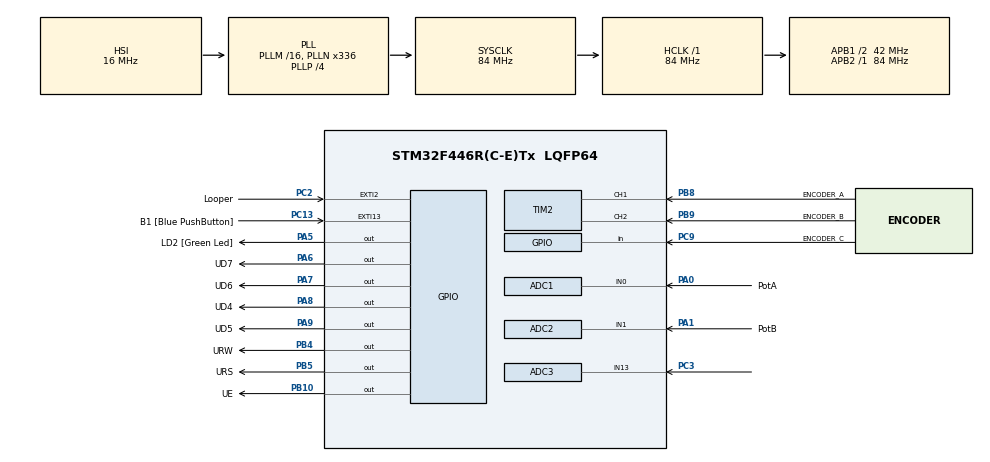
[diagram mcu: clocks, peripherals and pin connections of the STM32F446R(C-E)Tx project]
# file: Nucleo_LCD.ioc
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ADC1.Channel-1\#ChannelRegularConversion=ADC_CHANNEL_0
ADC1.ContinuousConvMode=ENABLE
ADC1.EOCSelection=ADC_EOC_SEQ_CONV
ADC1.NbrOfConversion=1
ADC1.NbrOfConversionFlag=1
ADC1.Rank-1\#ChannelRegularConversion=1
ADC1.SamplingTime-1\#ChannelRegularConversion=ADC_SAMPLETIME_84CYCLES
ADC1.master=1
ADC2.Channel-1\#ChannelRegularConversion=ADC_CHANNEL_1
ADC2.DMAContinuousRequests=DISABLE
ADC2.EOCSelection=ADC_EOC_SEQ_CONV
ADC2.NbrOfConversion=1
ADC2.NbrOfConversionFlag=1
ADC2.Rank-1\#ChannelRegularConversion=1
ADC2.SamplingTime-1\#ChannelRegularConversion=ADC_SAMPLETIME_84CYCLES
ADC3.Channel-3\#ChannelRegularConversion=ADC_CHANNEL_13
ADC3.EOCSelection=ADC_EOC_SEQ_CONV
ADC3.NbrOfConversionFlag=1
ADC3.Rank-3\#ChannelRegularConversion=1
ADC3.SamplingTime-3\#ChannelRegularConversion=ADC_SAMPLETIME_84CYCLES
Mcu.Family=STM32F4
Mcu.Name=STM32F446R(C-E)Tx
Mcu.Package=LQFP64
NVIC.EXTI2_IRQn=true\:0\:0\:false\:false\:true\:true\:true
NVIC.PriorityGroup=NVIC_PRIORITYGROUP_0
NVIC.TIM2_IRQn=true\:0\:0\:false\:false\:true\:true\:true
NVIC.TIM3_IRQn=true\:0\:0\:false\:false\:true\:true\:true
PA0-WKUP.GPIO_Label=PotA
PA0-WKUP.Signal=ADCx_IN0
PA1.GPIO_Label=PotB
PA1.Signal=ADCx_IN1
PA13.GPIO_Label=TMS
PA13.Mode=Serial_Wire
PA13.Signal=SYS_JTMS-SWDIO
PA14.GPIO_Label=TCK
PA14.Mode=Serial_Wire
PA14.Signal=SYS_JTCK-SWCLK
PA5.GPIO_Label=LD2 [Green Led]
PA5.Signal=GPIO_Output
PA6.GPIO_Label=UD7
PA6.GPIO_Speed=GPIO_SPEED_FREQ_MEDIUM
PA6.Signal=GPIO_Output
PA7.GPIO_Label=UD6
PA7.GPIO_Speed=GPIO_SPEED_FREQ_MEDIUM
PA7.Signal=GPIO_Output
PA8.GPIO_Label=UD4
PA8.GPIO_Speed=GPIO_SPEED_FREQ_MEDIUM
PA8.Signal=GPIO_Output
PA9.GPIO_Label=UD5
PA9.GPIO_Speed=GPIO_SPEED_FREQ_MEDIUM
PA9.Signal=GPIO_Output
PB10.GPIO_Label=UE
PB10.GPIO_Speed=GPIO_SPEED_FREQ_MEDIUM
PB10.Signal=GPIO_Output
PB3.GPIO_Label=SWO
PB3.Signal=SYS_JTDO-SWO
PB4.GPIO_Label=URW
PB4.GPIO_Speed=GPIO_SPEED_FREQ_MEDIUM
PB4.Signal=GPIO_Output
PB5.GPIO_Label=URS
PB5.GPIO_Speed=GPIO_SPEED_FREQ_MEDIUM
PB5.Signal=GPIO_Output
PB8.GPIO_Label=ENCODER_A
PB8.Signal=S_TIM2_CH1_ETR
PB9.GPIO_Label=ENCODER_B
PB9.Signal=S_TIM2_CH2
PC13.GPIO_Label=B1 [Blue PushButton]
PC13.GPIO_ModeDefaultEXTI=GPIO_MODE_IT_FALLING
PC13.Signal=GPXTI13
PC14-OSC32_IN.Mode=LSE-External-Oscillator
PC14-OSC32_IN.Signal=RCC_OSC32_IN
PC15-OSC32_OUT.Mode=LSE-External-Oscillator
PC15-OSC32_OUT.Signal=RCC_OSC32_OUT
PC2.GPIO_Label=Looper
PC2.Signal=GPXTI2
PC3.Signal=ADCx_IN13
PC9.GPIO_Label=ENCODER_C
PC9.Signal=GPIO_Input
PH0-OSC_IN.Mode=HSE-External-Oscillator
PH0-OSC_IN.Signal=RCC_OSC_IN
PH1-OSC_OUT.Mode=HSE-External-Oscillator
PH1-OSC_OUT.Signal=RCC_OSC_OUT
ProjectManager.HeapSize=0x200
ProjectManager.StackSize=0x400
ProjectManager.TargetToolchain=STM32CubeIDE
RCC.48MHZClocksFreq_Value=84000000
RCC.AHBFreq_Value=84000000
RCC.APB1CLKDivider=RCC_HCLK_DIV2
RCC.APB1Freq_Value=42000000
RCC.APB1TimFreq_Value=84000000
RCC.APB2Freq_Value=84000000
RCC.APB2TimFreq_Value=84000000
RCC.CortexFreq_Value=84000000
RCC.FLatency-AdvancedSettings=FLASH_LATENCY_2
RCC.HCLKFreq_Value=84000000
RCC.HSE_VALUE=8000000
RCC.HSI_VALUE=16000000
RCC.PLLN=336
RCC.PLLP=RCC_PLLP_DIV4
RCC.SYSCLKFreq_VALUE=84000000
RCC.SYSCLKSource=RCC_SYSCLKSOURCE_PLLCLK
RCC.USBFreq_Value=168000000
RCC.VCOOutputFreq_Value=336000000
SH.ADCx_IN0.0=ADC1_IN0,IN0
SH.ADCx_IN1.0=ADC2_IN1,IN1
SH.ADCx_IN13.0=ADC3_IN13,IN13
SH.S_TIM2_CH1_ETR.0=TIM2_CH1,Encoder_Interface
SH.S_TIM2_CH2.0=TIM2_CH2,Encoder_Interface
TIM2.EncoderMode=TIM_ENCODERMODE_TI12
TIM2.IC1Polarity=TIM_ICPOLARITY_FALLING
TIM2.IC2Polarity=TIM_ICPOLARITY_FALLING
TIM3.Period=2000
VP_TIM3_VS_ClockSourceINT.Mode=Internal
board=NUCLEO-F446RE

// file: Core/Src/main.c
/* USER CODE BEGIN Header */
/**
  ******************************************************************************
  * @file           : main.c
  * @brief          : Main program body
  ******************************************************************************
  * @attention
  *
  * <h2><center>&copy; Copyright (c) 2021 STMicroelectronics.
  * All rights reserved.</center></h2>
  *
  * This software component is licensed by ST under BSD 3-Clause license,
  * the "License"; You may not use this file except in compliance with the
  * License. You may obtain a copy of the License at:
  *                        opensource.org/licenses/BSD-3-Clause
  *
  ******************************************************************************
  */
/* USER CODE END Header */
#include "main.h"

/* USER CODE BEGIN Includes */
#include "lcd16x2.h"
#include <stdbool.h>
/* USER CODE END Includes */

ADC_HandleTypeDef hadc1;
ADC_HandleTypeDef hadc2;
ADC_HandleTypeDef hadc3;

TIM_HandleTypeDef htim2;
TIM_HandleTypeDef htim3;

void SystemClock_Config(void);
static void MX_GPIO_Init(void);
static void MX_ADC1_Init(void);
static void MX_ADC2_Init(void);
static void MX_ADC3_Init(void);
static void MX_TIM2_Init(void);
static void MX_TIM3_Init(void);
/* USER CODE BEGIN PFP */
void Lcd_Start_Up();
void Update_Lcd();
void Get_Pot_Params();
// Interrupt for Encoder
void HAL_TIM_IC_CaptureCallback(TIM_HandleTypeDef *htim);
void Update_Position();
void Update_Encoder_State(int16_t currentState);
void Display_Effect(char * name);
// Interrupt for Switch
void HAL_GPIO_EXTI_Callback(uint16_t GPIO_Pin);
/* USER CODE END PFP */

/* USER CODE BEGIN 0 */

// LCD VARS
uint32_t scaledValuePA, scaledValuePB, scaledValuePC;

// POTS VARS
uint32_t potValues[3];

// ENCODER VARS
uint32_t counter = 0;
int16_t count = 0;
int16_t state = 0;
int16_t position = 0;

// Important variables
int NUM_EFFECTS = 2;
_Bool clear_flag = false;
_Bool loop_on = false;

/* USER CODE END 0 */

int main(void)
{

  /* MCU Configuration--------------------------------------------------------*/

  /* Reset of all peripherals, Initializes the Flash interface and the Systick. */
  HAL_Init();

  /* Configure the system clock */
  SystemClock_Config();

  /* Initialize all configured peripherals */
  MX_GPIO_Init();
  MX_ADC1_Init();
  MX_ADC2_Init();
  MX_ADC3_Init();
  MX_TIM2_Init();
  MX_TIM3_Init();
  /* USER CODE BEGIN 2 */
  // ENCODER INTERRUPT
  HAL_TIM_Encoder_Start_IT(&htim2, TIM_CHANNEL_ALL);

  // LCD STARTUP
  Lcd_Start_Up();
  // Start all 3 onboard ADCs
  HAL_ADC_Start(&hadc1);
  HAL_ADC_Start(&hadc2);
  HAL_ADC_Start(&hadc3);
  HAL_Delay(1500);

  /* USER CODE END 2 */

  /* Infinite loop */
  /* USER CODE BEGIN WHILE */
  while (1)
  {
	  Get_Pot_Params();

	  if (clear_flag)
		  lcd16x2_clear();

	  Update_Lcd();

    /* USER CODE END WHILE */

  }
}

void SystemClock_Config(void)
{
  RCC_OscInitTypeDef RCC_OscInitStruct = {0};
  RCC_ClkInitTypeDef RCC_ClkInitStruct = {0};

  /** Configure the main internal regulator output voltage
  */
  __HAL_RCC_PWR_CLK_ENABLE();
  __HAL_PWR_VOLTAGESCALING_CONFIG(PWR_REGULATOR_VOLTAGE_SCALE3);
  /** Initializes the RCC Oscillators according to the specified parameters
  * in the RCC_OscInitTypeDef structure.
  */
  RCC_OscInitStruct.OscillatorType = RCC_OSCILLATORTYPE_HSI;
  RCC_OscInitStruct.HSIState = RCC_HSI_ON;
  RCC_OscInitStruct.HSICalibrationValue = RCC_HSICALIBRATION_DEFAULT;
  RCC_OscInitStruct.PLL.PLLState = RCC_PLL_ON;
  RCC_OscInitStruct.PLL.PLLSource = RCC_PLLSOURCE_HSI;
  RCC_OscInitStruct.PLL.PLLM = 16;
  RCC_OscInitStruct.PLL.PLLN = 336;
  RCC_OscInitStruct.PLL.PLLP = RCC_PLLP_DIV4;
  RCC_OscInitStruct.PLL.PLLQ = 2;
  RCC_OscInitStruct.PLL.PLLR = 2;
  if (HAL_RCC_OscConfig(&RCC_OscInitStruct) != HAL_OK)
  {
    Error_Handler();
  }
  /** Initializes the CPU, AHB and APB buses clocks
  */
  RCC_ClkInitStruct.ClockType = RCC_CLOCKTYPE_HCLK|RCC_CLOCKTYPE_SYSCLK
                              |RCC_CLOCKTYPE_PCLK1|RCC_CLOCKTYPE_PCLK2;
  RCC_ClkInitStruct.SYSCLKSource = RCC_SYSCLKSOURCE_PLLCLK;
  RCC_ClkInitStruct.AHBCLKDivider = RCC_SYSCLK_DIV1;
  RCC_ClkInitStruct.APB1CLKDivider = RCC_HCLK_DIV2;
  RCC_ClkInitStruct.APB2CLKDivider = RCC_HCLK_DIV1;

  if (HAL_RCC_ClockConfig(&RCC_ClkInitStruct, FLASH_LATENCY_2) != HAL_OK)
  {
    Error_Handler();
  }
}

static void MX_ADC1_Init(void)
{

  ADC_ChannelConfTypeDef sConfig = {0};

  /** Configure the global features of the ADC (Clock, Resolution, Data Alignment and number of conversion)
  */
  hadc1.Instance = ADC1;
  hadc1.Init.ClockPrescaler = ADC_CLOCK_SYNC_PCLK_DIV4;
  hadc1.Init.Resolution = ADC_RESOLUTION_12B;
  hadc1.Init.ScanConvMode = DISABLE;
  hadc1.Init.ContinuousConvMode = ENABLE;
  hadc1.Init.DiscontinuousConvMode = DISABLE;
  hadc1.Init.ExternalTrigConvEdge = ADC_EXTERNALTRIGCONVEDGE_NONE;
  hadc1.Init.ExternalTrigConv = ADC_SOFTWARE_START;
  hadc1.Init.DataAlign = ADC_DATAALIGN_RIGHT;
  hadc1.Init.NbrOfConversion = 1;
  hadc1.Init.DMAContinuousRequests = DISABLE;
  hadc1.Init.EOCSelection = ADC_EOC_SEQ_CONV;
  if (HAL_ADC_Init(&hadc1) != HAL_OK)
  {
    Error_Handler();
  }
  /** Configure for the selected ADC regular channel its corresponding rank in the sequencer and its sample time.
  */
  sConfig.Channel = ADC_CHANNEL_0;
  sConfig.Rank = 1;
  sConfig.SamplingTime = ADC_SAMPLETIME_84CYCLES;
  if (HAL_ADC_ConfigChannel(&hadc1, &sConfig) != HAL_OK)
  {
    Error_Handler();
  }

}

static void MX_ADC2_Init(void)
{

  ADC_ChannelConfTypeDef sConfig = {0};

  /** Configure the global features of the ADC (Clock, Resolution, Data Alignment and number of conversion)
  */
  hadc2.Instance = ADC2;
  hadc2.Init.ClockPrescaler = ADC_CLOCK_SYNC_PCLK_DIV4;
  hadc2.Init.Resolution = ADC_RESOLUTION_12B;
  hadc2.Init.ScanConvMode = DISABLE;
  hadc2.Init.ContinuousConvMode = ENABLE;
  hadc2.Init.DiscontinuousConvMode = DISABLE;
  hadc2.Init.ExternalTrigConvEdge = ADC_EXTERNALTRIGCONVEDGE_NONE;
  hadc2.Init.ExternalTrigConv = ADC_SOFTWARE_START;
  hadc2.Init.DataAlign = ADC_DATAALIGN_RIGHT;
  hadc2.Init.NbrOfConversion = 1;
  hadc2.Init.DMAContinuousRequests = DISABLE;
  hadc2.Init.EOCSelection = ADC_EOC_SEQ_CONV;
  if (HAL_ADC_Init(&hadc2) != HAL_OK)
  {
    Error_Handler();
  }
  /** Configure for the selected ADC regular channel its corresponding rank in the sequencer and its sample time.
  */
  sConfig.Channel = ADC_CHANNEL_1;
  sConfig.Rank = 1;
  sConfig.SamplingTime = ADC_SAMPLETIME_84CYCLES;
  if (HAL_ADC_ConfigChannel(&hadc2, &sConfig) != HAL_OK)
  {
    Error_Handler();
  }

}

static void MX_ADC3_Init(void)
{

  ADC_ChannelConfTypeDef sConfig = {0};

  /** Configure the global features of the ADC (Clock, Resolution, Data Alignment and number of conversion)
  */
  hadc3.Instance = ADC3;
  hadc3.Init.ClockPrescaler = ADC_CLOCK_SYNC_PCLK_DIV4;
  hadc3.Init.Resolution = ADC_RESOLUTION_12B;
  hadc3.Init.ScanConvMode = DISABLE;
  hadc3.Init.ContinuousConvMode = ENABLE;
  hadc3.Init.DiscontinuousConvMode = DISABLE;
  hadc3.Init.ExternalTrigConvEdge = ADC_EXTERNALTRIGCONVEDGE_NONE;
  hadc3.Init.ExternalTrigConv = ADC_SOFTWARE_START;
  hadc3.Init.DataAlign = ADC_DATAALIGN_RIGHT;
  hadc3.Init.NbrOfConversion = 1;
  hadc3.Init.DMAContinuousRequests = DISABLE;
  hadc3.Init.EOCSelection = ADC_EOC_SEQ_CONV;
  if (HAL_ADC_Init(&hadc3) != HAL_OK)
  {
    Error_Handler();
  }
  /** Configure for the selected ADC regular channel its corresponding rank in the sequencer and its sample time.
  */
  sConfig.Channel = ADC_CHANNEL_13;
  sConfig.Rank = 1;
  sConfig.SamplingTime = ADC_SAMPLETIME_84CYCLES;
  if (HAL_ADC_ConfigChannel(&hadc3, &sConfig) != HAL_OK)
  {
    Error_Handler();
  }

}

static void MX_TIM2_Init(void)
{

  TIM_Encoder_InitTypeDef sConfig = {0};
  TIM_MasterConfigTypeDef sMasterConfig = {0};

  htim2.Instance = TIM2;
  htim2.Init.Prescaler = 0;
  htim2.Init.CounterMode = TIM_COUNTERMODE_UP;
  htim2.Init.Period = 4294967295;
  htim2.Init.ClockDivision = TIM_CLOCKDIVISION_DIV1;
  htim2.Init.AutoReloadPreload = TIM_AUTORELOAD_PRELOAD_DISABLE;
  sConfig.EncoderMode = TIM_ENCODERMODE_TI12;
  sConfig.IC1Polarity = TIM_ICPOLARITY_FALLING;
  sConfig.IC1Selection = TIM_ICSELECTION_DIRECTTI;
  sConfig.IC1Prescaler = TIM_ICPSC_DIV1;
  sConfig.IC1Filter = 0;
  sConfig.IC2Polarity = TIM_ICPOLARITY_FALLING;
  sConfig.IC2Selection = TIM_ICSELECTION_DIRECTTI;
  sConfig.IC2Prescaler = TIM_ICPSC_DIV1;
  sConfig.IC2Filter = 0;
  if (HAL_TIM_Encoder_Init(&htim2, &sConfig) != HAL_OK)
  {
    Error_Handler();
  }
  sMasterConfig.MasterOutputTrigger = TIM_TRGO_RESET;
  sMasterConfig.MasterSlaveMode = TIM_MASTERSLAVEMODE_DISABLE;
  if (HAL_TIMEx_MasterConfigSynchronization(&htim2, &sMasterConfig) != HAL_OK)
  {
    Error_Handler();
  }

}

static void MX_TIM3_Init(void)
{

  TIM_ClockConfigTypeDef sClockSourceConfig = {0};
  TIM_MasterConfigTypeDef sMasterConfig = {0};

  htim3.Instance = TIM3;
  htim3.Init.Prescaler = 0;
  htim3.Init.CounterMode = TIM_COUNTERMODE_UP;
  htim3.Init.Period = 2000;
  htim3.Init.ClockDivision = TIM_CLOCKDIVISION_DIV1;
  htim3.Init.AutoReloadPreload = TIM_AUTORELOAD_PRELOAD_DISABLE;
  if (HAL_TIM_Base_Init(&htim3) != HAL_OK)
  {
    Error_Handler();
  }
  sClockSourceConfig.ClockSource = TIM_CLOCKSOURCE_INTERNAL;
  if (HAL_TIM_ConfigClockSource(&htim3, &sClockSourceConfig) != HAL_OK)
  {
    Error_Handler();
  }
  sMasterConfig.MasterOutputTrigger = TIM_TRGO_RESET;
  sMasterConfig.MasterSlaveMode = TIM_MASTERSLAVEMODE_DISABLE;
  if (HAL_TIMEx_MasterConfigSynchronization(&htim3, &sMasterConfig) != HAL_OK)
  {
    Error_Handler();
  }

}

static void MX_GPIO_Init(void)
{
  GPIO_InitTypeDef GPIO_InitStruct = {0};

  /* GPIO Ports Clock Enable */
  __HAL_RCC_GPIOC_CLK_ENABLE();
  __HAL_RCC_GPIOH_CLK_ENABLE();
  __HAL_RCC_GPIOA_CLK_ENABLE();
  __HAL_RCC_GPIOB_CLK_ENABLE();

  /*Configure GPIO pin Output Level */
  HAL_GPIO_WritePin(GPIOA, LD2_Pin|UD7_Pin|UD6_Pin|UD4_Pin
                          |UD5_Pin, GPIO_PIN_RESET);

  /*Configure GPIO pin Output Level */
  HAL_GPIO_WritePin(GPIOB, UE_Pin|URW_Pin|URS_Pin, GPIO_PIN_RESET);

  /*Configure GPIO pin : B1_Pin */
  GPIO_InitStruct.Pin = B1_Pin;
  GPIO_InitStruct.Mode = GPIO_MODE_IT_FALLING;
  GPIO_InitStruct.Pull = GPIO_NOPULL;
  HAL_GPIO_Init(B1_GPIO_Port, &GPIO_InitStruct);

  /*Configure GPIO pin : Looper_Pin */
  GPIO_InitStruct.Pin = Looper_Pin;
  GPIO_InitStruct.Mode = GPIO_MODE_IT_RISING;
  GPIO_InitStruct.Pull = GPIO_NOPULL;
  HAL_GPIO_Init(Looper_GPIO_Port, &GPIO_InitStruct);

  /*Configure GPIO pin : LD2_Pin */
  GPIO_InitStruct.Pin = LD2_Pin;
  GPIO_InitStruct.Mode = GPIO_MODE_OUTPUT_PP;
  GPIO_InitStruct.Pull = GPIO_NOPULL;
  GPIO_InitStruct.Speed = GPIO_SPEED_FREQ_LOW;
  HAL_GPIO_Init(LD2_GPIO_Port, &GPIO_InitStruct);

  /*Configure GPIO pins : UD7_Pin UD6_Pin UD4_Pin UD5_Pin */
  GPIO_InitStruct.Pin = UD7_Pin|UD6_Pin|UD4_Pin|UD5_Pin;
  GPIO_InitStruct.Mode = GPIO_MODE_OUTPUT_PP;
  GPIO_InitStruct.Pull = GPIO_NOPULL;
  GPIO_InitStruct.Speed = GPIO_SPEED_FREQ_MEDIUM;
  HAL_GPIO_Init(GPIOA, &GPIO_InitStruct);

  /*Configure GPIO pins : UE_Pin URW_Pin URS_Pin */
  GPIO_InitStruct.Pin = UE_Pin|URW_Pin|URS_Pin;
  GPIO_InitStruct.Mode = GPIO_MODE_OUTPUT_PP;
  GPIO_InitStruct.Pull = GPIO_NOPULL;
  GPIO_InitStruct.Speed = GPIO_SPEED_FREQ_MEDIUM;
  HAL_GPIO_Init(GPIOB, &GPIO_InitStruct);

  /*Configure GPIO pin : ENCODER_C_Pin */
  GPIO_InitStruct.Pin = ENCODER_C_Pin;
  GPIO_InitStruct.Mode = GPIO_MODE_INPUT;
  GPIO_InitStruct.Pull = GPIO_NOPULL;
  HAL_GPIO_Init(ENCODER_C_GPIO_Port, &GPIO_InitStruct);

  /* EXTI interrupt init*/
  HAL_NVIC_SetPriority(EXTI2_IRQn, 0, 0);
  HAL_NVIC_EnableIRQ(EXTI2_IRQn);

}

/* USER CODE BEGIN 4 */

void Update_Lcd() {
	clear_flag = false;
	// check for updates of user input
	switch(position) {
	case 0:
		//Display Effect 1 Screen
		// lcd16x2_1stLine();
		// lcd16x2_printf("  Distortion");
		Display_Effect("Distortion");
		break;
	case 1:
		//Display Effect 2 Screen
		// lcd16x2_1stLine();
		// lcd16x2_printf("  Delay");
		Display_Effect("Delay");
		break;
	}
//  lcd16x2_2ndLine();
//  lcd16x2_printf(" A:");
//  lcd16x2_printf("%02d", scaledValuePA);
//  lcd16x2_printf(" B:");
//  lcd16x2_printf("%02d", scaledValuePB);
//  lcd16x2_printf(" C:");
//  lcd16x2_printf("%02d", scaledValuePC);
}

void Display_Effect(char * name)
{
	lcd16x2_1stLine();
	lcd16x2_printf("  %s", name);
	lcd16x2_2ndLine();
	lcd16x2_printf(" A:");
	lcd16x2_printf("%02d", scaledValuePA);
	lcd16x2_printf(" B:");
	lcd16x2_printf("%02d", scaledValuePB);
	lcd16x2_printf(" C:");
	lcd16x2_printf("%02d", scaledValuePC);
}

void Lcd_Start_Up() {

	lcd16x2_init_4bits(URS_GPIO_Port, URS_Pin, UE_Pin, UD4_GPIO_Port, UD4_Pin, UD5_Pin, UD6_Pin, UD7_Pin);
	lcd16x2_setCursor(0, 0);
	lcd16x2_cursorShow(0);
	HAL_Delay(500);
	lcd16x2_clear();
	lcd16x2_printf("     ADEPT");
	HAL_Delay(1500);
	lcd16x2_clear();
	lcd16x2_setCursor(1, 0);
	lcd16x2_printf("    FX System");
}

void Get_Pot_Params() {

	// Poll ADC1 for PotA
	HAL_ADC_PollForConversion(&hadc1, 1000);
	// Store value reading for PotA
	potValues[0] = HAL_ADC_GetValue(&hadc1);
	// scale value between 0 and 99
	scaledValuePA = potValues[0] * 0.0247821;
	if(scaledValuePA > 99) {
		scaledValuePA = 99;
	}

	HAL_ADC_PollForConversion(&hadc2, 1000);
	potValues[1] = HAL_ADC_GetValue(&hadc2);
	scaledValuePB = potValues[1] * 0.0247821;
	if(scaledValuePB > 99) {
		scaledValuePB = 99;
	}

	HAL_ADC_PollForConversion(&hadc3, 1000);
	potValues[2] = HAL_ADC_GetValue(&hadc3);
	scaledValuePC = potValues[2] * 0.0247821;
	if(scaledValuePC > 99) {
		scaledValuePC = 99;
	}
}

// * ENCODER INTERRUPT SERVICE ROUTINE *
void HAL_TIM_IC_CaptureCallback(TIM_HandleTypeDef *htim)
{
	counter = __HAL_TIM_GET_COUNTER(htim);
	count = (int16_t)counter;
	count /= 4;
	Update_Encoder_State(count);

}

void Update_Encoder_State(int16_t currentState)
{
	// Case 1: currentState > lastState, we moved one to right (down)
	if (currentState > state)
	{
		// Update position
		position++;
		Update_Position();
		clear_flag = true;
		// Update state
		state = currentState;
	}
	// Case 2: currentState < lastState, we moved to the left (up)
	else if (currentState < state)
	{
		position--;
		Update_Position();
		clear_flag = true;
		// Update state
		state = currentState;
	}
}

void Update_Position()
{
	if (position < 0)
		position = 0;

	position %= NUM_EFFECTS;
}

// Looper Interrupt Routine
void HAL_GPIO_EXTI_Callback(uint16_t GPIO_Pin)
{
	loop_on = true;
}
/* USER CODE END 4 */

void Error_Handler(void)
{
  __disable_irq();
  while (1)
  {
  }
}

/************************ (C) COPYRIGHT STMicroelectronics *****END OF FILE****/
